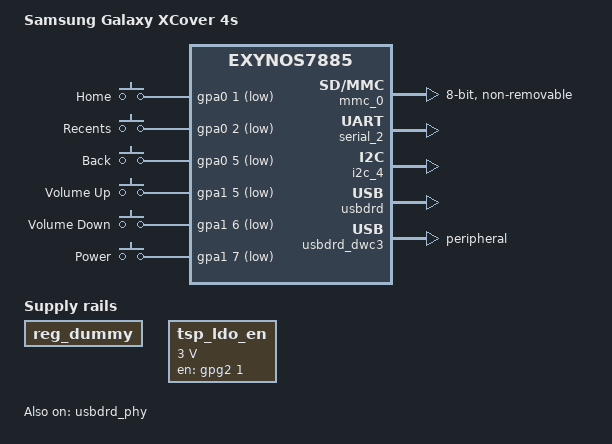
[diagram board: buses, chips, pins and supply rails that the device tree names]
// SPDX-License-Identifier: GPL-2.0
/*
 * Samsung Galaxy XCover 4s (xcover4s/SM-G398FN) device tree source
 *
 * Copyright (c) 2021 Samsung Electronics Co., Ltd.
 * Copyright (c) 2024 Dávid Virág
 */

/dts-v1/;
#include "exynos7885.dtsi"
#include <dt-bindings/gpio/gpio.h>
#include <dt-bindings/input/input.h>
#include <dt-bindings/interrupt-controller/irq.h>

/ {
	model = "Samsung Galaxy XCover 4s";
	compatible = "samsung,xcover4s", "samsung,exynos7885";
	chassis-type = "handset";

	aliases {
		mmc0 = &mmc_0;
		serial0 = &serial_0;
		serial1 = &serial_1;
		serial2 = &serial_2;
	};

	chosen {
		#address-cells = <2>;
		#size-cells = <1>;
		ranges;

		stdout-path = &serial_2;

		framebuffer@ec000000 {
			compatible = "simple-framebuffer";
			reg = <0x0 0xec000000 0x00384000>;
			width = <720>;
			height = <1280>;
			stride = <2880>;
			format = "a8r8g8b8";
		};

	};

	reserved-memory {
		#address-cells = <2>;
		#size-cells = <1>;
		ranges;

		framebuffer_region@ec000000 {
			reg = <0x0 0xec000000 0x00384000>;
			no-map;
		};
	};

	memory@80000000 {
		device_type = "memory";
		reg = <0x0 0x80000000 0x3da00000>,
		      <0x0 0xc0000000 0x40000000>,
		      <0x8 0x80000000 0x80000000>;
	};

	gpio-keys {
		compatible = "gpio-keys";
		pinctrl-names = "default";
		pinctrl-0 = <&key_home &key_recent &key_back &key_xcover
		             &key_volup &key_voldown &key_power>;

		home-key {
			label = "Home";
			linux,code = <KEY_HOME>;
			gpios = <&gpa0 1 GPIO_ACTIVE_LOW>;
		};

		recents-key {
			label = "Recents";
			linux,code = <KEY_APPSELECT>;
			gpios = <&gpa0 2 GPIO_ACTIVE_LOW>;
		};

		back-key {
			label = "Back";
			linux,code = <KEY_BACK>;
			gpios = <&gpa0 5 GPIO_ACTIVE_LOW>;
		};

		/* TODO: What key is this? */
		/*
		xcover-key {
			label = "XCover";
			linux,code = <???>;
			gpios = <&gpa1 3 GPIO_ACTIVE_LOW>;
		};*/

		volup-key {
			label = "Volume Up";
			linux,code = <KEY_VOLUMEUP>;
			gpios = <&gpa1 5 GPIO_ACTIVE_LOW>;
		};

		voldown-key {
			label = "Volume Down";
			linux,code = <KEY_VOLUMEDOWN>;
			gpios = <&gpa1 6 GPIO_ACTIVE_LOW>;
		};

		power-key {
			label = "Power";
			linux,code = <KEY_POWER>;
			gpios = <&gpa1 7 GPIO_ACTIVE_LOW>;
			wakeup-source;
		};
	};

	/* TODO: Remove this once PMIC is implemented  */
	reg_dummy: regulator-0 {
		compatible = "regulator-fixed";
		regulator-name = "dummy_reg";
	};

	tsp_ldo_en: tsp_ldo_en {
		compatible = "regulator-fixed";
		regulator-name = "tsp_ldo_en";
		regulator-min-microvolt = <3000000>;
		regulator-max-microvolt = <3000000>;
		gpio = <&gpg2 1 0>;
		enable-active-high;
//		regulator-boot-on;
	};
};

&mmc_0 {
	status = "okay";
	mmc-hs200-1_8v;
	mmc-hs400-1_8v;
	cap-mmc-highspeed;
	non-removable;
	mmc-hs400-enhanced-strobe;
	card-detect-delay = <200>;
	clock-frequency = <800000000>;
	bus-width = <8>;
	samsung,dw-mshc-ciu-div = <3>;
	samsung,dw-mshc-sdr-timing = <0 4>;
	samsung,dw-mshc-ddr-timing = <2 4>;
	samsung,dw-mshc-hs400-timing = <0 2>;

	pinctrl-names = "default";
	pinctrl-0 = <&sd0_clk_fast_slew_rate_2x &sd0_cmd &sd0_rdqs
		     &sd0_bus1 &sd0_bus4 &sd0_bus8>;
};

&oscclk {
	clock-frequency = <26000000>;
};

&pinctrl_alive {
	key_home: key-home-pins {
		samsung,pins = "gpa0-1";
		samsung,pin-function = <EXYNOS_PIN_FUNC_F>;
		samsung,pin-pud = <EXYNOS_PIN_PULL_NONE>;
		samsung,pin-drv = <EXYNOS5420_PIN_DRV_LV1>;
	};

	key_recent: key-home-pins {
		samsung,pins = "gpa0-2";
		samsung,pin-function = <EXYNOS_PIN_FUNC_F>;
		samsung,pin-pud = <EXYNOS_PIN_PULL_NONE>;
		samsung,pin-drv = <EXYNOS5420_PIN_DRV_LV1>;
	};

	key_back: key-home-pins {
		samsung,pins = "gpa0-5";
		samsung,pin-function = <EXYNOS_PIN_FUNC_F>;
		samsung,pin-pud = <EXYNOS_PIN_PULL_NONE>;
		samsung,pin-drv = <EXYNOS5420_PIN_DRV_LV1>;
	};

	key_xcover: key-home-pins {
		samsung,pins = "gpa1-3";
		samsung,pin-function = <EXYNOS_PIN_FUNC_F>;
		samsung,pin-pud = <EXYNOS_PIN_PULL_NONE>;
		samsung,pin-drv = <EXYNOS5420_PIN_DRV_LV1>;
	};

	key_volup: key-volup-pins {
		samsung,pins = "gpa1-5";
		samsung,pin-function = <EXYNOS_PIN_FUNC_F>;
		samsung,pin-pud = <EXYNOS_PIN_PULL_NONE>;
		samsung,pin-drv = <EXYNOS5420_PIN_DRV_LV1>;
	};

	key_voldown: key-voldown-pins {
		samsung,pins = "gpa1-6";
		samsung,pin-function = <EXYNOS_PIN_FUNC_F>;
		samsung,pin-pud = <EXYNOS_PIN_PULL_NONE>;
		samsung,pin-drv = <EXYNOS5420_PIN_DRV_LV1>;
	};

	key_power: key-power-pins {
		samsung,pins = "gpa1-7";
		samsung,pin-function = <EXYNOS_PIN_FUNC_F>;
		samsung,pin-pud = <EXYNOS_PIN_PULL_NONE>;
		samsung,pin-drv = <EXYNOS5420_PIN_DRV_LV1>;
	};

	attn_irq: attn-irq {
		samsung,pins = "gpa0-0";
		samsung,pin-function = <EXYNOS_PIN_FUNC_F>;
		samsung,pin-pud = <EXYNOS_PIN_PULL_NONE>;
		samsung,pin-drv = <EXYNOS5420_PIN_DRV_LV1>;
	};
};

&serial_2 {
	status = "okay";
};

&i2c_4 {
	status = "okay";
	samsung,i2c-sda-delay = <100>;
	samsung,i2c-max-bus-freq = <400000>;

/*	touchscreen@20 {
		compatible = "zinitix,bt541";
		reg = <0x20>;
		pinctrl-names = "default";
		pinctrl-0 = <&attn_irq>;
		interrupt-parent = <&gpa0>;
		interrupts = <0 IRQ_TYPE_LEVEL_HIGH>;
		vcca-supply = <&reg_dummy>;
		vdd-supply = <&tsp_ldo_en>;
		touchscreen-size-x = <720>;
		touchscreen-size-y = <1280>;
		zinitix,mode = <2>;
	};*/
};

&usbdrd {
	status = "okay";
	vdd10-supply = <&reg_dummy>;
	vdd33-supply = <&reg_dummy>;
};

&usbdrd_dwc3 {
	dr_mode = "peripheral"; /* Force to peripheral until we have Type-C working */
};

&usbdrd_phy {
	status = "okay";
};
